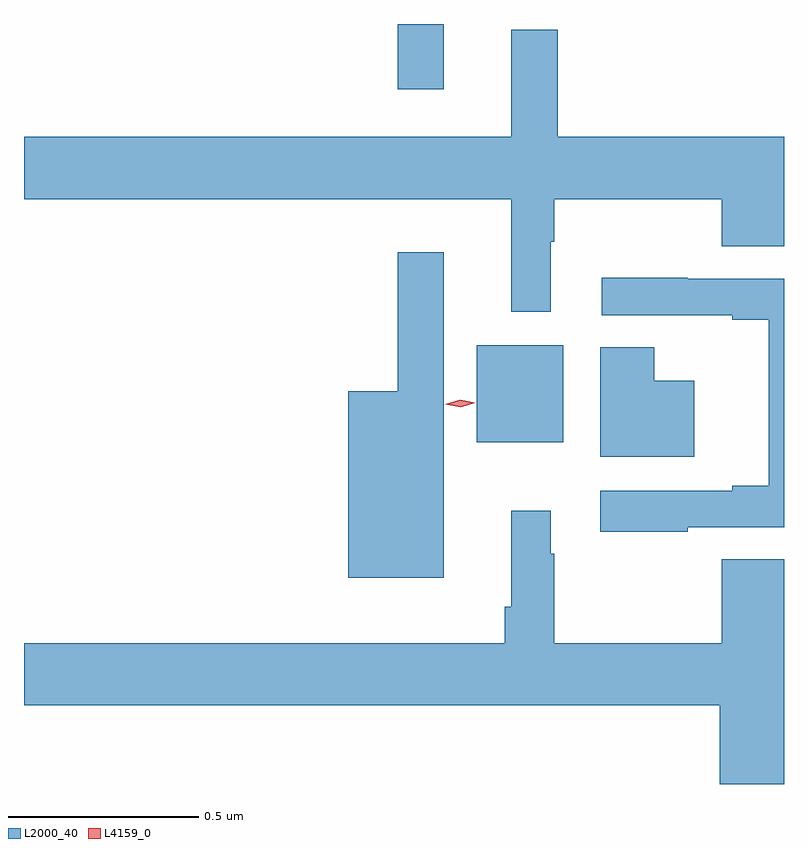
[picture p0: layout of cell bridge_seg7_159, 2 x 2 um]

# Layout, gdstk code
import gdstk
lib = gdstk.Library(unit=1e-6, precision=1e-09)
def R(c, l, rs):  # rectangles x0, y0, x1, y1
    for r in rs: c.add(gdstk.rectangle(r[:2], r[2:], *l))
def P(c, l, *ps):  # polygons
    for p in ps: c.add(gdstk.Polygon(p, *l))
L2000_40 = (2000, 40)
L4159_0 = (4159, 0)

bridge_seg7_159 = lib.new_cell('bridge_seg7_159')
R(bridge_seg7_159, L2000_40, [(605.705,1037.273,605.932,1037.527), (605.496,1038.201,605.617,1038.373)])
P(bridge_seg7_159, L2000_40, [(605.899,1037.8),(605.909,1037.8),(605.909,1037.912),(606.349,1037.912),(606.349,1037.788),(606.513,1037.788),(606.513,1038.076),(605.917,1038.076),(605.917,1038.358),(605.795,1038.358),(605.795,1038.076),(604.513,1038.076),(604.513,1037.912),(605.795,1037.912),(605.795,1037.616),(605.899,1037.616)],
  [(605.617,1037.773),(605.496,1037.773),(605.496,1037.407),(605.366,1037.407),(605.366,1036.916),(605.617,1036.916)],
  [(606.26,1037.049),(606.513,1037.049),(606.513,1037.703),(606.26,1037.703),(606.26,1037.705),(606.033,1037.705),(606.033,1037.607),(606.377,1037.607),(606.377,1037.595),(606.473,1037.595),(606.473,1037.158),(606.377,1037.158),(606.377,1037.145),(606.03,1037.145),(606.03,1037.037),(606.26,1037.037)],
  [(606.277,1037.434),(606.171,1037.434),(606.171,1037.522),(606.029,1037.522),(606.029,1037.234),(606.277,1037.234)],
  [(606.513,1036.964),(606.349,1036.964),(606.349,1036.744),(605.909,1036.744),(605.909,1036.979),(605.899,1036.979),(605.899,1037.092),(605.795,1037.092),(605.795,1036.84),(605.778,1036.84),(605.778,1036.744),(604.513,1036.744),(604.513,1036.58),(606.344,1036.58),(606.344,1036.373),(606.513,1036.373)])
P(bridge_seg7_159, L4159_0, [(605.662,1037.364),(605.622,1037.373),(605.621,1037.373),(605.622,1037.373),(605.661,1037.384),(605.701,1037.376),(605.701,1037.376),(605.701,1037.376)])

lib.write_gds('bridge_seg7_159.gds')
